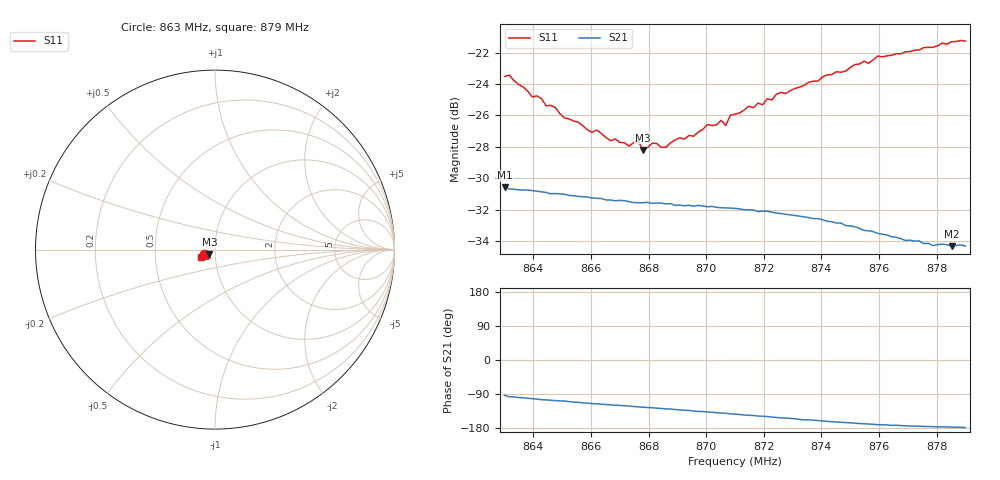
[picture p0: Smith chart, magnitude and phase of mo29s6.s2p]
# HZ S RI R 50
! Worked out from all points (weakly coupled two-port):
!   101 points, 863 MHz to 879 MHz, reference 50 ohm
!   highest |S21| = -30.58 dB at 863 MHz (marker M1); lowest = -34.3 dB at 878.52 MHz (marker M2)
!   lowest |S11| = -28.2 dB at 867.8 MHz (marker M3), VSWR 1.08, Z = 47 - j2.25 ohm
!   |S11| at or under -10 dB: start of sweep to end of sweep
!   S12 and S22 are empty: the file has one direction only
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8.63e8  -0.0621 -0.0243  -0.00163 -0.0295  0 0  0 0
8.6316e8  -0.0633 -0.0229  -0.00352 -0.029  0 0  0 0
8.6396e8  -0.054 -0.0195  -0.00599 -0.0283  0 0  0 0
8.6412e8  -0.0544 -0.0197  -0.00653 -0.028  0 0  0 0
8.6508e8  -0.0454 -0.0189  -0.00877 -0.0267  0 0  0 0
8.6572e8  -0.0417 -0.0204  -0.0108 -0.0254  0 0  0 0
8.6732e8  -0.0318 -0.0242  -0.0139 -0.0227  0 0  0 0
8.6764e8  -0.0325 -0.026  -0.0146 -0.022  0 0  0 0
8.678e8  -0.0307 -0.0239  -0.015 -0.0217  0 0  0 0
8.6812e8  -0.0303 -0.0275  -0.0154 -0.0213  0 0  0 0
8.6844e8  -0.0284 -0.0276  -0.0162 -0.0208  0 0  0 0
8.6956e8  -0.0267 -0.0338  -0.0181 -0.0183  0 0  0 0
8.7004e8  -0.0277 -0.0378  -0.0188 -0.0174  0 0  0 0
8.7052e8  -0.0273 -0.0399  -0.0195 -0.0164  0 0  0 0
8.7068e8  -0.026 -0.0387  -0.0197 -0.0161  0 0  0 0
8.7084e8  -0.0292 -0.0408  -0.0201 -0.0156  0 0  0 0
8.71e8  -0.0287 -0.0417  -0.0202 -0.0153  0 0  0 0
8.7372e8  -0.0381 -0.0519  -0.0219 -0.00854  0 0  0 0
8.7596e8  -0.0548 -0.0548  -0.0208 -0.00341  0 0  0 0
8.7644e8  -0.0578 -0.0522  -0.0204 -0.00264  0 0  0 0
8.7852e8  -0.0733 -0.045  -0.0192 -0.000919  0 0  0 0
8.79e8  -0.0755 -0.042  -0.0192 -0.000596  0 0  0 0
